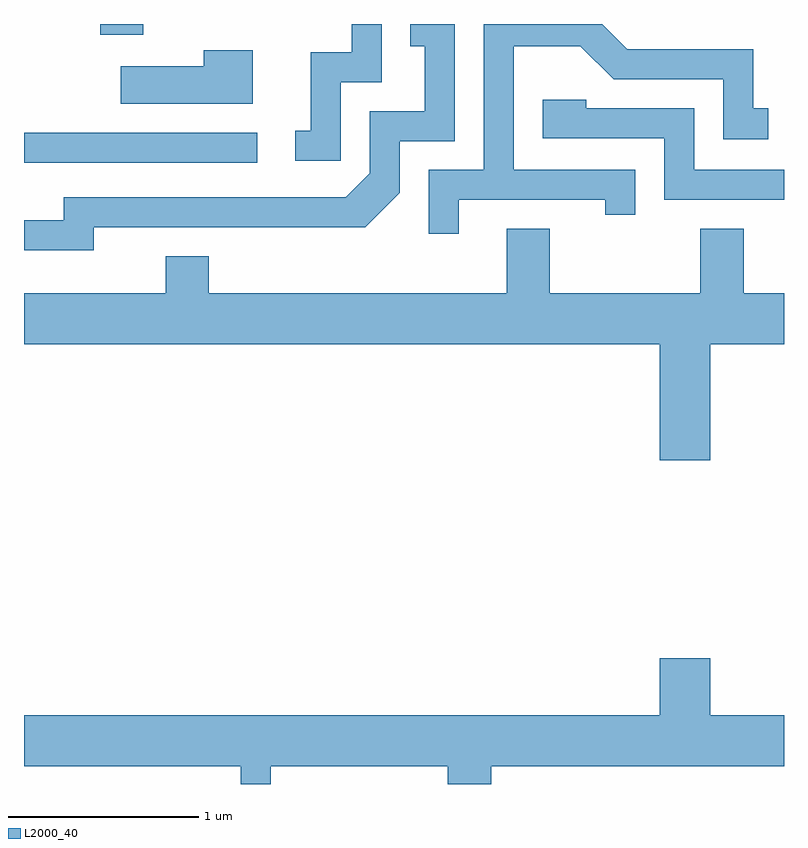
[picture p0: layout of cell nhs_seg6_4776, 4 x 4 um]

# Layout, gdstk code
import gdstk
lib = gdstk.Library(unit=1e-6, precision=1e-09)
def R(c, l, rs):  # rectangles x0, y0, x1, y1
    for r in rs: c.add(gdstk.rectangle(r[:2], r[2:], *l))
def P(c, l, *ps):  # polygons
    for p in ps: c.add(gdstk.Polygon(p, *l))
L2000_40 = (2000, 40)

nhs_seg6_4776 = lib.new_cell('nhs_seg6_4776')
R(nhs_seg6_4776, L2000_40, [(331.611,1555.431,332.838,1555.589), (332.011,1556.106,332.239,1556.162)])
P(nhs_seg6_4776, L2000_40, [(333.279,1555.856),(333.494,1555.856),(333.494,1556.162),(333.336,1556.162),(333.336,1556.014),(333.121,1556.014),(333.121,1555.599),(333.038,1555.599),(333.038,1555.441),(333.279,1555.441)],
  [(333.899,1555.236),(334.671,1555.236),(334.671,1555.158),(334.829,1555.158),(334.829,1555.394),(334.189,1555.394),(334.189,1556.046),(334.539,1556.046),(334.714,1555.871),(335.291,1555.871),(335.291,1555.556),(335.528,1555.556),(335.528,1555.719),(335.449,1555.719),(335.449,1556.029),(334.787,1556.029),(334.654,1556.162),(334.031,1556.162),(334.031,1555.394),(333.741,1555.394),(333.741,1555.058),(333.899,1555.058)],
  [(331.979,1555.091),(333.407,1555.091),(333.589,1555.274),(333.589,1555.546),(333.879,1555.546),(333.879,1556.162),(333.643,1556.162),(333.643,1556.046),(333.721,1556.046),(333.721,1555.704),(333.431,1555.704),(333.431,1555.377),(333.304,1555.249),(331.821,1555.249),(331.821,1555.129),(331.611,1555.129),(331.611,1554.971),(331.979,1554.971)],
  [(332.814,1556.024),(332.556,1556.024),(332.556,1555.939),(332.121,1555.939),(332.121,1555.741),(332.814,1555.741)],
  [(335.611,1555.394),(335.139,1555.394),(335.139,1555.719),(334.569,1555.719),(334.569,1555.764),(334.341,1555.764),(334.341,1555.561),(334.981,1555.561),(334.981,1555.236),(335.611,1555.236)],
  [(334.956,1553.866),(335.224,1553.866),(335.224,1554.476),(335.611,1554.476),(335.611,1554.744),(335.399,1554.744),(335.399,1555.084),(335.171,1555.084),(335.171,1554.744),(334.379,1554.744),(334.379,1555.084),(334.151,1555.084),(334.151,1554.744),(332.584,1554.744),(332.584,1554.939),(332.356,1554.939),(332.356,1554.744),(331.611,1554.744),(331.611,1554.476),(334.956,1554.476)],
  [(331.611,1552.256),(332.751,1552.256),(332.751,1552.162),(332.909,1552.162),(332.909,1552.256),(333.841,1552.256),(333.841,1552.162),(334.069,1552.162),(334.069,1552.256),(335.611,1552.256),(335.611,1552.524),(335.224,1552.524),(335.224,1552.824),(334.956,1552.824),(334.956,1552.524),(331.611,1552.524)])

lib.write_gds('nhs_seg6_4776.gds')
